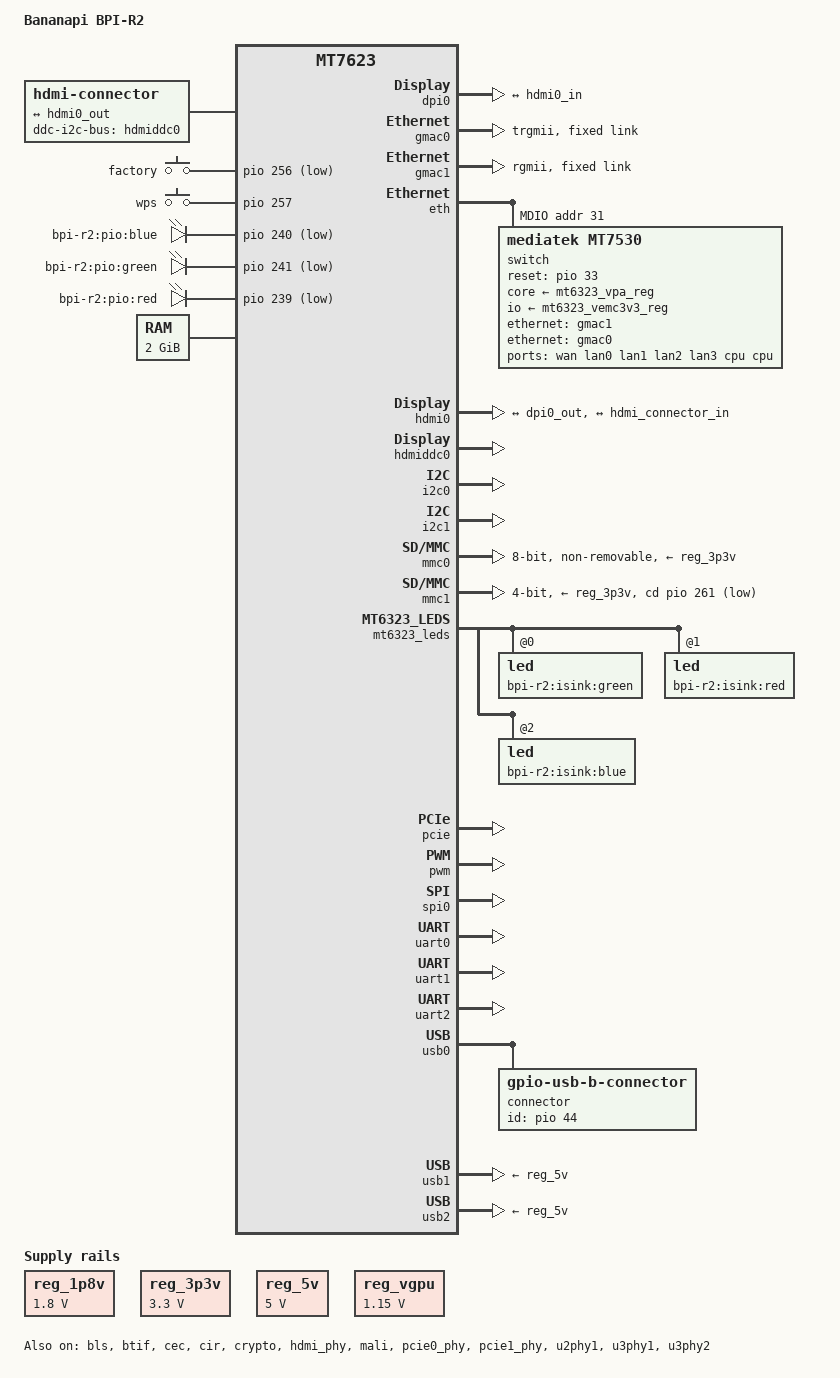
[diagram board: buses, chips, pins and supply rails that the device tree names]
/*
 * Copyright 2017-2018 Sean Wang <sean.wang@mediatek.com>
 *
 * SPDX-License-Identifier: (GPL-2.0+ OR MIT)
 */

/dts-v1/;
#include <dt-bindings/input/input.h>
#include "mt7623n.dtsi"
#include "mt6323.dtsi"

/ {
	model = "Bananapi BPI-R2";
	compatible = "bananapi,bpi-r2", "mediatek,mt7623";

	aliases {
		serial2 = &uart2;
	};

	chosen {
		stdout-path = "serial2:115200n8";
	};

	connector {
		compatible = "hdmi-connector";
		label = "hdmi";
		type = "d";
		ddc-i2c-bus = <&hdmiddc0>;

		port {
			hdmi_connector_in: endpoint {
				remote-endpoint = <&hdmi0_out>;
			};
		};
	};

	cpus {
		cpu@0 {
			proc-supply = <&mt6323_vproc_reg>;
		};

		cpu@1 {
			proc-supply = <&mt6323_vproc_reg>;
		};

		cpu@2 {
			proc-supply = <&mt6323_vproc_reg>;
		};

		cpu@3 {
			proc-supply = <&mt6323_vproc_reg>;
		};
	};

	reg_1p8v: regulator-1p8v {
		compatible = "regulator-fixed";
		regulator-name = "fixed-1.8V";
		regulator-min-microvolt = <1800000>;
		regulator-max-microvolt = <1800000>;
		regulator-boot-on;
		regulator-always-on;
	};

	reg_3p3v: regulator-3p3v {
		compatible = "regulator-fixed";
		regulator-name = "fixed-3.3V";
		regulator-min-microvolt = <3300000>;
		regulator-max-microvolt = <3300000>;
		regulator-boot-on;
		regulator-always-on;
	};

	reg_5v: regulator-5v {
		compatible = "regulator-fixed";
		regulator-name = "fixed-5V";
		regulator-min-microvolt = <5000000>;
		regulator-max-microvolt = <5000000>;
		regulator-boot-on;
		regulator-always-on;
	};

	reg_vgpu: fixedregulator@0 {
		compatible = "regulator-fixed";
		regulator-name = "vdd_fixed_vgpu";
		regulator-min-microvolt = <1150000>;
		regulator-max-microvolt = <1150000>;
	};

	gpio-keys {
		compatible = "gpio-keys";
		pinctrl-names = "default";
		pinctrl-0 = <&key_pins_a>;

		button-factory {
			label = "factory";
			linux,code = <BTN_0>;
			gpios = <&pio 256 GPIO_ACTIVE_LOW>;
		};

		button-wps {
			label = "wps";
			linux,code = <KEY_WPS_BUTTON>;
			gpios = <&pio 257 GPIO_ACTIVE_HIGH>;
		};
	};

	leds {
		compatible = "gpio-leds";
		pinctrl-names = "default";
		pinctrl-0 = <&led_pins_a>;

		blue {
			label = "bpi-r2:pio:blue";
			gpios = <&pio 240 GPIO_ACTIVE_LOW>;
			default-state = "off";
		};

		green {
			label = "bpi-r2:pio:green";
			gpios = <&pio 241 GPIO_ACTIVE_LOW>;
			default-state = "off";
		};

		red {
			label = "bpi-r2:pio:red";
			gpios = <&pio 239 GPIO_ACTIVE_LOW>;
			default-state = "off";
		};
	};

	memory@80000000 {
		device_type = "memory";
		reg = <0 0x80000000 0 0x80000000>;
	};
};

&bls {
	status = "okay";
};

&btif {
	status = "okay";
};

&cec {
	status = "okay";
};

&cir {
	pinctrl-names = "default";
	pinctrl-0 = <&cir_pins_a>;
	status = "okay";
};

&crypto {
	status = "okay";
};

&dpi0 {
	status = "okay";

	ports {
		#address-cells = <1>;
		#size-cells = <0>;
		port@0 {
			reg = <0>;
			dpi0_out: endpoint {
				remote-endpoint = <&hdmi0_in>;
			};
		};
	};
};

&gmac0 {
	status = "okay";
	phy-mode = "trgmii";

	fixed-link {
		speed = <1000>;
		full-duplex;
		pause;
	};
};

&gmac1 {
	status = "okay";
	phy-mode = "rgmii";

	fixed-link {
		speed = <1000>;
		full-duplex;
		pause;
	};
};

&eth {
	status = "okay";

	mdio-bus {
		#address-cells = <1>;
		#size-cells = <0>;

		switch@1f {
			compatible = "mediatek,mt7530";
			reg = <0x1f>;
			reset-gpios = <&pio 33 0>;
			core-supply = <&mt6323_vpa_reg>;
			io-supply = <&mt6323_vemc3v3_reg>;

			ports {
				#address-cells = <1>;
				#size-cells = <0>;

				port@0 {
					reg = <0>;
					label = "wan";
				};

				port@1 {
					reg = <1>;
					label = "lan0";
				};

				port@2 {
					reg = <2>;
					label = "lan1";
				};

				port@3 {
					reg = <3>;
					label = "lan2";
				};

				port@4 {
					reg = <4>;
					label = "lan3";
				};

				port@5 {
					reg = <5>;
					label = "cpu";
					ethernet = <&gmac1>;
					phy-mode = "rgmii";

					fixed-link {
						speed = <1000>;
						full-duplex;
						pause;
					};
				};

				port@6 {
					reg = <6>;
					label = "cpu";
					ethernet = <&gmac0>;
					phy-mode = "trgmii";

					fixed-link {
						speed = <1000>;
						full-duplex;
						pause;
					};
				};
			};
		};
	};
};

&hdmi0 {
	pinctrl-names = "default";
	pinctrl-0 = <&hdmi_pins_a>;
	status = "okay";

	ports {
		#address-cells = <1>;
		#size-cells = <0>;
		port@0 {
			reg = <0>;
			hdmi0_in: endpoint {
				remote-endpoint = <&dpi0_out>;
			};
		};

		port@1 {
			reg = <1>;
			hdmi0_out: endpoint {
				remote-endpoint = <&hdmi_connector_in>;
			};
		};
	};
};

&hdmiddc0 {
	pinctrl-names = "default";
	pinctrl-0 = <&hdmi_ddc_pins_a>;
	status = "okay";
};

&hdmi_phy {
	mediatek,ibias = <0xa>;
	mediatek,ibias_up = <0x1c>;
	status = "okay";
};

&i2c0 {
	pinctrl-names = "default";
	pinctrl-0 = <&i2c0_pins_a>;
	status = "okay";
};

&i2c1 {
	pinctrl-names = "default";
	pinctrl-0 = <&i2c1_pins_a>;
	status = "okay";
};

&mali {
	mali-supply = <&reg_vgpu>;
	status = "okay";
};

&mmc0 {
	pinctrl-names = "default", "state_uhs";
	pinctrl-0 = <&mmc0_pins_default>;
	pinctrl-1 = <&mmc0_pins_uhs>;
	status = "okay";
	bus-width = <8>;
	max-frequency = <50000000>;
	cap-mmc-highspeed;
	vmmc-supply = <&reg_3p3v>;
	vqmmc-supply = <&reg_1p8v>;
	non-removable;
};

&mmc1 {
	pinctrl-names = "default", "state_uhs";
	pinctrl-0 = <&mmc1_pins_default>;
	pinctrl-1 = <&mmc1_pins_uhs>;
	status = "okay";
	bus-width = <4>;
	max-frequency = <50000000>;
	cap-sd-highspeed;
	cd-gpios = <&pio 261 GPIO_ACTIVE_LOW>;
	vmmc-supply = <&reg_3p3v>;
	vqmmc-supply = <&reg_3p3v>;
};

&mt6323keys {
	home {
		status = "disabled";
	};
};

&mt6323_leds {
	status = "okay";

	led@0 {
		reg = <0>;
		label = "bpi-r2:isink:green";
		default-state = "off";
	};

	led@1 {
		reg = <1>;
		label = "bpi-r2:isink:red";
		default-state = "off";
	};

	led@2 {
		reg = <2>;
		label = "bpi-r2:isink:blue";
		default-state = "off";
	};
};

&pcie {
	pinctrl-names = "default";
	pinctrl-0 = <&pcie_default>;
	status = "okay";

	pcie@0,0 {
		status = "okay";
	};

	pcie@1,0 {
		status = "okay";
	};
};

&pcie0_phy {
	status = "okay";
};

&pcie1_phy {
	status = "okay";
};

&pio {
	musb_pins: musb {
		pins-musb {
			pinmux = <MT7623_PIN_237_EXT_SDIO2_FUNC_DRV_VBUS>;
		};
	};
};

&pwm {
	pinctrl-names = "default";
	pinctrl-0 = <&pwm_pins_a>;
	status = "okay";
};

&spi0 {
	pinctrl-names = "default";
	pinctrl-0 = <&spi0_pins_a>;
	status = "okay";
};

&uart0 {
	pinctrl-names = "default";
	pinctrl-0 = <&uart0_pins_a>;
	status = "okay";
};

&uart1 {
	pinctrl-names = "default";
	pinctrl-0 = <&uart1_pins_a>;
	status = "okay";
};

&uart2 {
	pinctrl-names = "default";
	pinctrl-0 = <&uart2_pins_a>;
	status = "okay";
};

&usb0 {
	pinctrl-names = "default";
	pinctrl-0 = <&musb_pins>;
	status = "okay";
	usb-role-switch;

	connector {
		compatible = "gpio-usb-b-connector", "usb-b-connector";
		type = "micro";
		id-gpios = <&pio 44 GPIO_ACTIVE_HIGH>;
	};
};

&usb1 {
	vusb33-supply = <&reg_3p3v>;
	vbus-supply = <&reg_5v>;
	status = "okay";
};

&usb2 {
	vusb33-supply = <&reg_3p3v>;
	vbus-supply = <&reg_5v>;
	status = "okay";
};

&u2phy1 {
	status = "okay";
};

&u3phy1 {
	status = "okay";
};

&u3phy2 {
	status = "okay";
};
